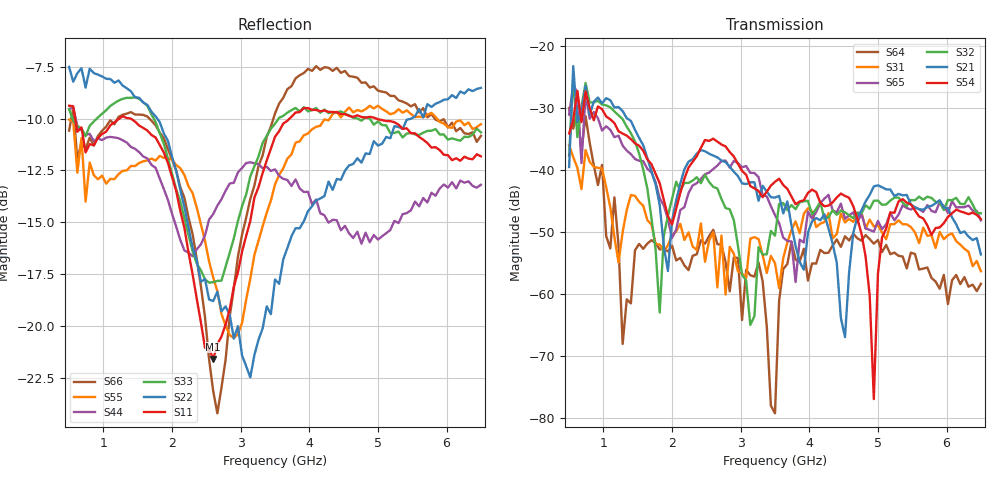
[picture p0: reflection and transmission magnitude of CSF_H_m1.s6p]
!Keysight Technologies,M9804A,MY58100912,A.14.10.03
!Date: Thursday, April 27, 2023 10:28:33
!Correction: S11(C  6-Port  )
!S12(C  6-Port  )
!S13(C  6-Port  )
!S14(C  6-Port  )
!S15(C  6-Port  )
!S16(C  6-Port  )
!S21(C  6-Port  )
!S22(C  6-Port  )
!S23(C  6-Port  )
!S24(C  6-Port  )
!S25(C  6-Port  )
!S26(C  6-Port  )
!S31(C  6-Port  )
!S32(C  6-Port  )
!S33(C  6-Port  )
!S34(C  6-Port  )
!S35(C  6-Port  )
!S36(C  6-Port  )
!S41(C  6-Port  )
!S42(C  6-Port  )
!S43(C  6-Port  )
!S44(C  6-Port  )
!S45(C  6-Port  )
!S46(C  6-Port  )
!S51(C  6-Port  )
!S52(C  6-Port  )
!S53(C  6-Port  )
!S54(C  6-Port  )
!S55(C  6-Port  )
!S56(C  6-Port  )
!S61(C  6-Port  )
!S62(C  6-Port  )
!S63(C  6-Port  )
!S64(C  6-Port  )
!S65(C  6-Port  )
!S66(C  6-Port  )
!S6P File: Measurement: :
# Hz S  RI  R 50
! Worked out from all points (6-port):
!   101 points, 500 MHz to 6.5 GHz, reference 50 ohm
!   strongest paths, dB at 500 MHz, 2 GHz, 3.5 GHz, 5 GHz, 6.5 GHz:
!     S54: -34.1, -48.8, -41.9, -56.7, -47.9
!     S21: -39.5, -48.2, -44.4, -42.5, -53.6
!     S32: -37.6, -44.6, -50.6, -44.9, -47.0
!     S65: -31.1, -50.9, -47.2, -48.2, -48.1
!     S31: -36.0, -50.5, -55.0, -48.9, -56.3
!     S64: -30.0, -52.2, -79.2, -51.3, -58.3
!   lowest |S11| = -21.6 dB at 2.6 GHz (marker M1), VSWR 1.18, Z = 42.6 + j2.06 ohm
!   |S11| at or under -10 dB: 588.8 MHz to 1.234 GHz (645.1 MHz wide, 70.8 % of centre); 1.391 GHz to 3.713 GHz (2.322 GHz wide, 91 % of centre); 4.973 GHz to end of sweep
